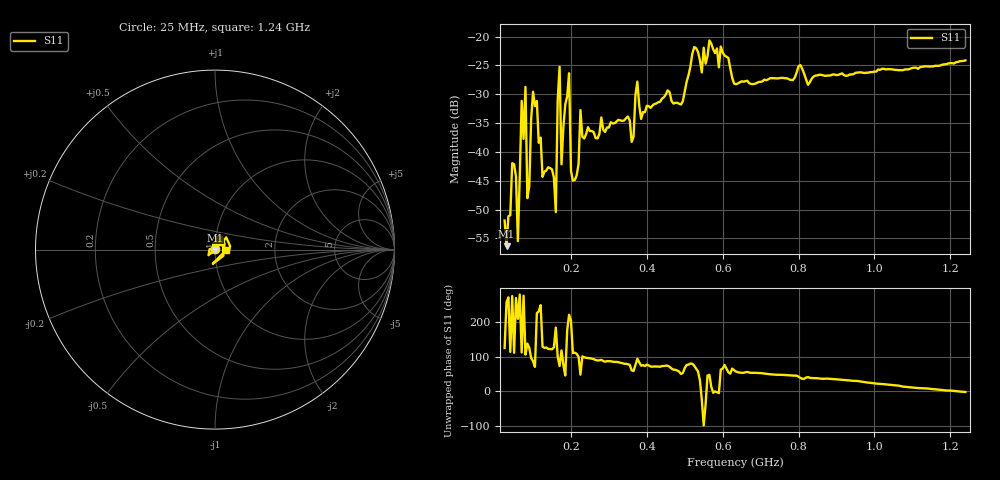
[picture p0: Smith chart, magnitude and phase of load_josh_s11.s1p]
!Created with skrf (http://scikit-rf.org).
# Hz S RI R 50.0
!freq ReS11 ImS11
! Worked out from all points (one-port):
!   244 points, 25 MHz to 1.24 GHz, reference 50 ohm
!   lowest |S11| = -56.4 dB at 30 MHz (marker M1), VSWR 1.00, Z = 50 - j0.148 ohm
!   |S11| at or under -10 dB: start of sweep to end of sweep
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2.5e7  -0.00145 0.00208
3e7  -0.000342 -0.00148
4.5e7  0.000698 -0.00795
5.5e7  -7.15e-05 -0.00612
6e7  -0.00147 -0.000822
7e7  -0.0104 0.0256
7.5e7  0.00138 -0.0129
8e7  -0.01 0.0352
8.5e7  -0.00293 0.00268
1e8  0.00167 0.0332
1.6e8  -0.003 -0.000203
1.65e8  -0.00439 0.0279
1.7e8  0.0159 0.0523
1.75e8  -0.00366 0.00689
1.8e8  0.00392 0.016
1.95e8  -0.0363 -0.0315
2e8  -0.00627 -0.00272
2.05e8  -0.00197 0.00527
2.2e8  -0.00136 0.00774
2.25e8  0.0155 0.0171
3.3e8  0.0025 0.0186
4.85e8  0.0142 0.022
5.65e8  0.0625 0.0681
6.35e8  0.0211 0.0323
7.85e8  0.0294 0.0298
9.4e8  0.0404 0.0238
1.09e9  0.0508 0.0106
1.24e9  0.062 -0.00235
